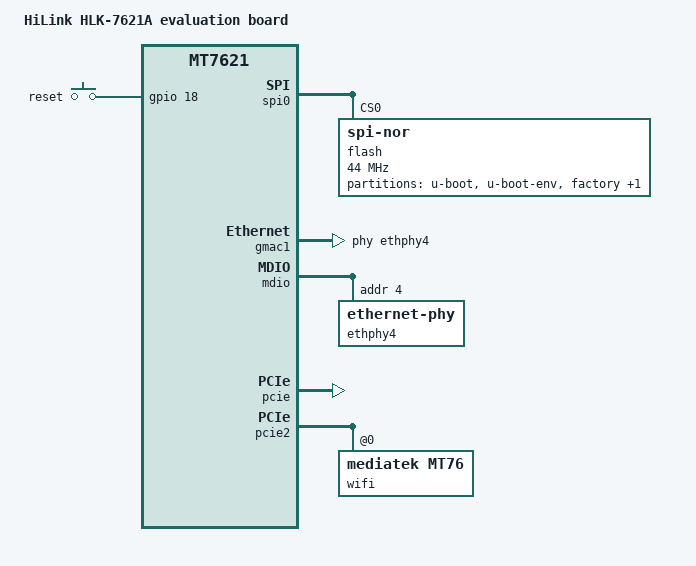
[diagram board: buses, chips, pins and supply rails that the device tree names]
// SPDX-License-Identifier: GPL-2.0-or-later

#include "mt7621.dtsi"

#include <dt-bindings/gpio/gpio.h>
#include <dt-bindings/input/input.h>

/ {
	compatible = "hilink,hlk-7621a-evb", "mediatek,mt7621-soc";
	model = "HiLink HLK-7621A evaluation board";

	keys {
		compatible = "gpio-keys";

		reset {
			label = "reset";
			gpios = <&gpio 18 GPIO_ACTIVE_HIGH>;
			linux,code = <KEY_RESTART>;
		};
	};
};

&spi0 {
	status = "okay";

	flash@0 {
		compatible = "jedec,spi-nor";
		reg = <0>;
		spi-max-frequency = <44000000>;
		broken-flash-reset;

		partitions {
			compatible = "fixed-partitions";
			#address-cells = <1>;
			#size-cells = <1>;

			partition@0 {
				label = "u-boot";
				reg = <0x0 0x30000>;
				read-only;
			};

			partition@30000 {
				label = "u-boot-env";
				reg = <0x30000 0x10000>;
				read-only;
			};

			factory: partition@40000 {
				label = "factory";
				reg = <0x40000 0x10000>;
				read-only;
			};

			partition@50000 {
				compatible = "denx,uimage";
				label = "firmware";
				reg = <0x50000 0x1fb0000>;
			};
		};
	};
};

&gmac1 {
	status = "okay";
	label = "wan";
	phy-handle = <&ethphy4>;
};

&mdio {
	ethphy4: ethernet-phy@4 {
		reg = <4>;
	};
};

&switch0 {
	ports {
		port@0 {
			status = "okay";
			label = "lan1";
		};

		port@1 {
			status = "okay";
			label = "lan2";
		};

		port@2 {
			status = "okay";
			label = "lan3";
		};

		port@3 {
			status = "okay";
			label = "lan4";
		};
	};
};

&pcie {
	status = "okay";
};

&pcie2 {
	wifi@0,0 {
		compatible = "mediatek,mt76";
		reg = <0x0000 0 0 0 0>;
		mediatek,mtd-eeprom = <&factory 0x8000>;
	};
};

&state_default {
	gpio {
		groups = "wdt";
		function = "gpio";
	};
};
